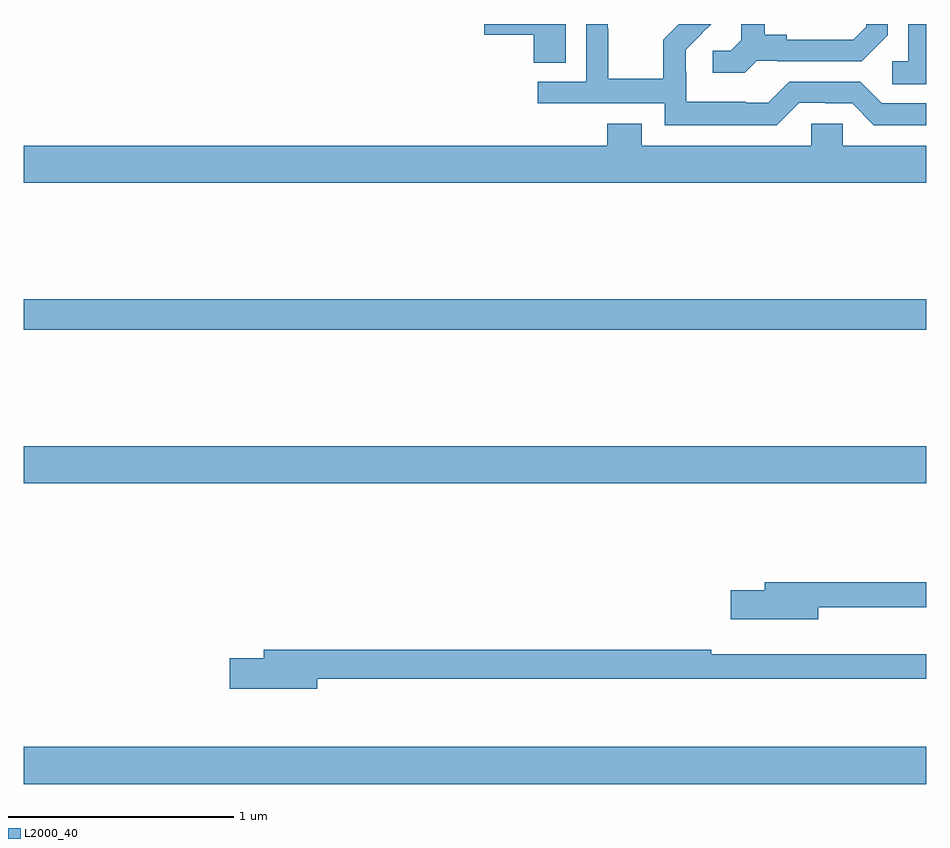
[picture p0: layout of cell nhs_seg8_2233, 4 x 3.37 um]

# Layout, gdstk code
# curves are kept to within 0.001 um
import gdstk
lib = gdstk.Library(unit=1e-6, precision=1e-09)
def R(c, l, rs):  # rectangles x0, y0, x1, y1
    for r in rs: c.add(gdstk.rectangle(r[:2], r[2:], *l))
def P(c, l, *ps):  # polygons
    for p in ps: c.add(gdstk.Polygon(p, *l))
L2000_40 = (2000, 40)

nhs_seg8_2233 = lib.new_cell('nhs_seg8_2233')
R(nhs_seg8_2233, L2000_40, [(253,1084.532,257,1084.696), (253,1085.864,257,1086.028), (253,1086.544,257,1086.68)])
P(nhs_seg8_2233, L2000_40, [(257,1087.9),(256.92,1087.9),(256.92,1087.734),(256.848,1087.734),(256.848,1087.633),(257,1087.633)],
  [(255.403,1087.9),(255.042,1087.9),(255.042,1087.853),(255.26,1087.853),(255.26,1087.729),(255.403,1087.729)],
  [(256.248,1087.737),(256.342,1087.737),(256.342,1087.734),(256.714,1087.734),(256.83,1087.85),(256.83,1087.9),(256.733,1087.9),(256.733,1087.887),(256.676,1087.83),(256.381,1087.83),(256.381,1087.853),(256.285,1087.853),(256.285,1087.9),(256.181,1087.9),(256.181,1087.829),(256.134,1087.782),(256.053,1087.782),(256.053,1087.685),(256.196,1087.685)],
  [(256.437,1087.551),(256.553,1087.551),(256.553,1087.548),(256.671,1087.548),(256.767,1087.452),(257,1087.452),(257,1087.548),(256.803,1087.548),(256.707,1087.644),(256.392,1087.644),(256.299,1087.551),(256.199,1087.551),(256.199,1087.555),(255.936,1087.555),(255.936,1087.689),(255.934,1087.689),(255.934,1087.786),(256.046,1087.9),(255.904,1087.9),(255.835,1087.831),(255.835,1087.657),(255.591,1087.657),(255.591,1087.88),(255.588,1087.88),(255.588,1087.9),(255.492,1087.9),(255.492,1087.644),(255.279,1087.644),(255.279,1087.548),(255.84,1087.548),(255.84,1087.451),(256.337,1087.451)],
  [(256.491,1087.458),(256.491,1087.36),(255.739,1087.36),(255.739,1087.459),(255.587,1087.459),(255.587,1087.36),(253,1087.36),(253,1087.196),(257,1087.196),(257,1087.36),(256.629,1087.36),(256.629,1087.458)],
  [(256.522,1085.315),(257,1085.315),(257,1085.425),(256.283,1085.425),(256.283,1085.391),(256.134,1085.391),(256.134,1085.261),(256.522,1085.261)],
  [(254.302,1084.998),(257,1084.998),(257,1085.108),(256.618,1085.108),(256.618,1085.107),(256.046,1085.107),(256.046,1085.126),(254.063,1085.126),(254.063,1085.09),(253.914,1085.09),(253.914,1084.955),(254.302,1084.955)])

lib.write_gds('nhs_seg8_2233.gds')
